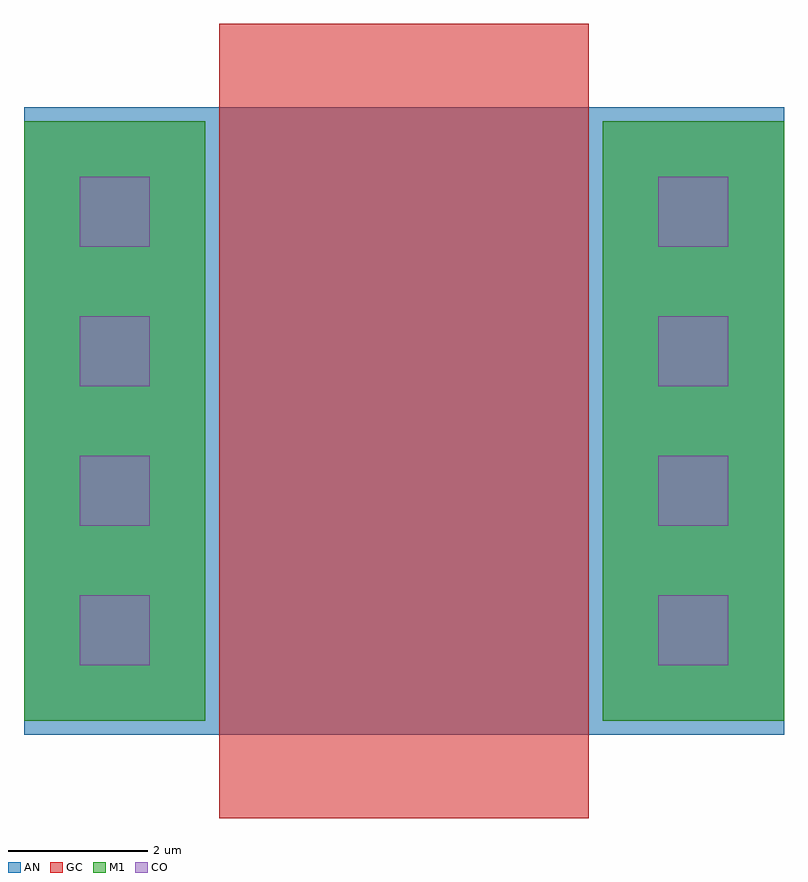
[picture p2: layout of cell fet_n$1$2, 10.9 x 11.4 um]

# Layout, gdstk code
import gdstk
lib = gdstk.Library(unit=1e-6, precision=1e-09)
def R(c, l, rs):  # rectangles x0, y0, x1, y1
    for r in rs: c.add(gdstk.rectangle(r[:2], r[2:], *l))
def A(c, l, x, y, w, h, nx, ny, dx, dy):  # array of equal rectangles
    R(c, l, [(x+i*dx, y+j*dy, x+i*dx+w, y+j*dy+h) for i in range(nx) for j in range(ny)])
AN = (3, 2)
GC = (8, 1)
CO = (11, 0)
M1 = (13, 0)

fet_n_1_2 = lib.new_cell('fet_n$1$2')
R(fet_n_1_2, AN, [(-5.45,-4.5,5.45,4.5)])
A(fet_n_1_2, CO, -4.65, -3.5, 1, 1, 1, 4, 0, 2)
A(fet_n_1_2, CO, 3.65, -3.5, 1, 1, 1, 4, 0, 2)
R(fet_n_1_2, M1, [(-5.45,-4.3,-2.85,4.3), (2.85,-4.3,5.45,4.3)])
fet_n_1_2.add(gdstk.FlexPath([(0,-5.7),(0,5.7)], 5.3, ends="flush", simple_path=True, layer=8, datatype=1))  # GC

lib.write_gds('fet_n_1_2.gds')
